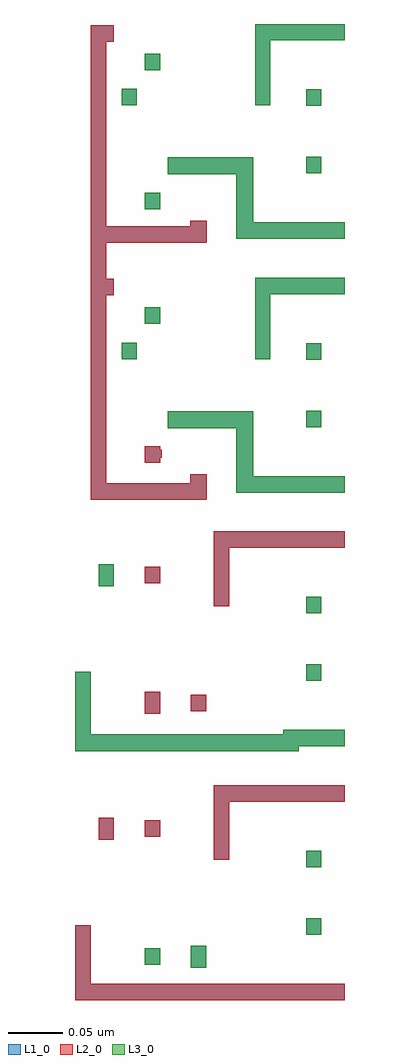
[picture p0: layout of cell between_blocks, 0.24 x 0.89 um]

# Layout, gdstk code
from math import pi, radians
import gdstk
lib = gdstk.Library(unit=1e-6, precision=5e-10)
def R(c, l, rs):  # rectangles x0, y0, x1, y1
    for r in rs: c.add(gdstk.rectangle(r[:2], r[2:], *l))
def P(c, l, *ps):  # polygons
    for p in ps: c.add(gdstk.Polygon(p, *l))
L1_0 = (1, 0)
L2_0 = (2, 0)
L3_0 = (3, 0)

nand = lib.new_cell('nand')
R(nand, L1_0, [(0.258,0.1025,0.272,0.1675), (0.153,0.1235,0.167,0.1385), (0.195,0.1235,0.209,0.1385)])

nor = lib.new_cell('nor')
R(nor, L1_0, [(0.2265,0.04,0.2405,0.055), (0.2475,0.072,0.2615,0.087), (0.2055,0.098,0.2195,0.113)])

inv = lib.new_cell('inv')
R(inv, L1_0, [(0.0695,0.039,0.0835,0.054), (0.0485,0.0985,0.1045,0.1135)])
R(inv, L3_0, [(0.0695,0.039,0.0835,0.054)])

between_blocks = lib.new_cell('between_blocks')
R(between_blocks, L1_0, [(0.1095,-0.2835,0.3305,-0.2685), (0.2145,-0.254,0.2285,-0.234), (0.1305,-0.1375,0.1445,-0.1175), (0.1725,-0.023,0.1865,-0.003), (0.1305,0.093,0.1445,0.113), (0.173,0.21,0.188,0.2175), (0.173,0.3365,0.1845,0.344), (0.1735,0.4415,0.1835,0.4475), (0.173,0.5665,0.186,0.576)])
P(between_blocks, L1_0, [(0.3185,0.605),(0.3185,0.59),(0.287,0.59),(0.287,0.531),(0.273,0.531),(0.273,0.605)],
  [(0.3185,0.374),(0.3185,0.359),(0.287,0.359),(0.287,0.3),(0.273,0.3),(0.273,0.374)],
  [(0.318,0.143),(0.318,0.128),(0.2495,0.128),(0.2495,0.1135),(0.2355,0.1135),(0.2355,0.143)],
  [(0.318,-0.088),(0.318,-0.103),(0.2495,-0.103),(0.2495,-0.1175),(0.2355,-0.1175),(0.2355,-0.088)],
  [(0.2715,0.4835),(0.2715,0.4245),(0.3175,0.4245),(0.3175,0.4095),(0.256,0.4095),(0.256,0.468),(0.1935,0.468),(0.1935,0.4835)],
  [(0.2715,0.2525),(0.2715,0.1935),(0.3175,0.1935),(0.3175,0.1785),(0.256,0.1785),(0.256,0.237),(0.1935,0.237),(0.1935,0.2525)],
  [(0.1375,0.604),(0.1375,0.421),(0.214,0.421),(0.214,0.426),(0.229,0.426),(0.229,0.4065),(0.2285,0.4065),(0.2285,0.406),(0.1375,0.406),(0.1375,0.187),(0.214,0.187),(0.214,0.195),(0.229,0.195),(0.229,0.1725),(0.2285,0.1725),(0.2285,0.172),(0.1235,0.172),(0.1235,0.604)],
  [(0.313,-0.0375),(0.313,-0.057),(0.1095,-0.057),(0.1095,-0.0415),(0.2985,-0.0415),(0.2985,-0.0375)])
R(between_blocks, L2_0, [(0.1305,-0.1375,0.1445,-0.1175), (0.1725,-0.135,0.1865,-0.12), (0.1725,-0.023,0.1865,-0.003), (0.2145,-0.0205,0.2285,-0.0055), (0.1725,0.096,0.1865,0.111)])
P(between_blocks, L2_0, [(0.3545,0.143),(0.3545,0.128),(0.2495,0.128),(0.2495,0.075),(0.2355,0.075),(0.2355,0.143)],
  [(0.3545,-0.088),(0.3545,-0.103),(0.2495,-0.103),(0.2495,-0.156),(0.2355,-0.156),(0.2355,-0.088)],
  [(0.1865,0.2205),(0.1865,0.2175),(0.188,0.2175),(0.188,0.21),(0.1865,0.21),(0.1865,0.2055),(0.1725,0.2055),(0.1725,0.2205)],
  [(0.1445,0.604),(0.1445,0.589),(0.1375,0.589),(0.1375,0.421),(0.214,0.421),(0.214,0.426),(0.229,0.426),(0.229,0.4065),(0.2285,0.4065),(0.2285,0.406),(0.1375,0.406),(0.1375,0.373),(0.1445,0.373),(0.1445,0.358),(0.1375,0.358),(0.1375,0.187),(0.214,0.187),(0.214,0.195),(0.229,0.195),(0.229,0.1725),(0.2285,0.1725),(0.2285,0.172),(0.1235,0.172),(0.1235,0.604)],
  [(0.1235,-0.2155),(0.1235,-0.2685),(0.3545,-0.2685),(0.3545,-0.2835),(0.1095,-0.2835),(0.1095,-0.2155)])
R(between_blocks, L3_0, [(0.2145,-0.254,0.2285,-0.234), (0.1725,-0.2515,0.1865,-0.2365), (0.1305,0.093,0.1445,0.113), (0.1515,0.3,0.1655,0.315), (0.1725,0.332,0.1865,0.347), (0.1725,0.4365,0.1865,0.4515), (0.1515,0.531,0.1655,0.546), (0.1725,0.563,0.1865,0.578)])
P(between_blocks, L3_0, [(0.3545,0.605),(0.3545,0.59),(0.287,0.59),(0.287,0.531),(0.273,0.531),(0.273,0.605)],
  [(0.3545,0.374),(0.3545,0.359),(0.287,0.359),(0.287,0.3),(0.273,0.3),(0.273,0.374)],
  [(0.2715,0.4835),(0.2715,0.4245),(0.3545,0.4245),(0.3545,0.4095),(0.256,0.4095),(0.256,0.468),(0.1935,0.468),(0.1935,0.4835)],
  [(0.2715,0.2525),(0.2715,0.1935),(0.3545,0.1935),(0.3545,0.1785),(0.256,0.1785),(0.256,0.237),(0.1935,0.237),(0.1935,0.2525)],
  [(0.1235,0.0155),(0.1235,-0.0415),(0.2985,-0.0415),(0.2985,-0.0375),(0.3545,-0.0375),(0.3545,-0.0525),(0.313,-0.0525),(0.313,-0.057),(0.1095,-0.057),(0.1095,0.0155)])
between_blocks.add(gdstk.Reference(nand, (0.3815,-0.113), rotation=pi))
between_blocks.add(gdstk.Reference(nand, (-0.0225,-0.2585)))
between_blocks.add(gdstk.Reference(nand, (0.3815,0.118), rotation=pi))
between_blocks.add(gdstk.Reference(nand, (-0.0225,-0.0275)))
between_blocks.add(gdstk.Reference(nor, (0.434,0.2925), rotation=pi))
between_blocks.add(gdstk.Reference(nor, (-0.075,0.26)))
between_blocks.add(gdstk.Reference(nor, (0.434,0.5235), rotation=pi))
between_blocks.add(gdstk.Reference(nor, (-0.075,0.491)))
between_blocks.add(gdstk.Reference(inv, (0.403,-0.17), rotation=pi))
between_blocks.add(gdstk.Reference(inv, (0.25,-0.2015)))
between_blocks.add(gdstk.Reference(inv, (0.403,0.061), rotation=pi))
between_blocks.add(gdstk.Reference(inv, (0.25,0.0295)))
between_blocks.add(gdstk.Reference(inv, (0.403,0.292), rotation=pi))
between_blocks.add(gdstk.Reference(inv, (0.25,0.2605)))
between_blocks.add(gdstk.Reference(inv, (0.403,0.523), rotation=pi))
between_blocks.add(gdstk.Reference(inv, (0.25,0.4915)))

lib.write_gds('between_blocks.gds')
